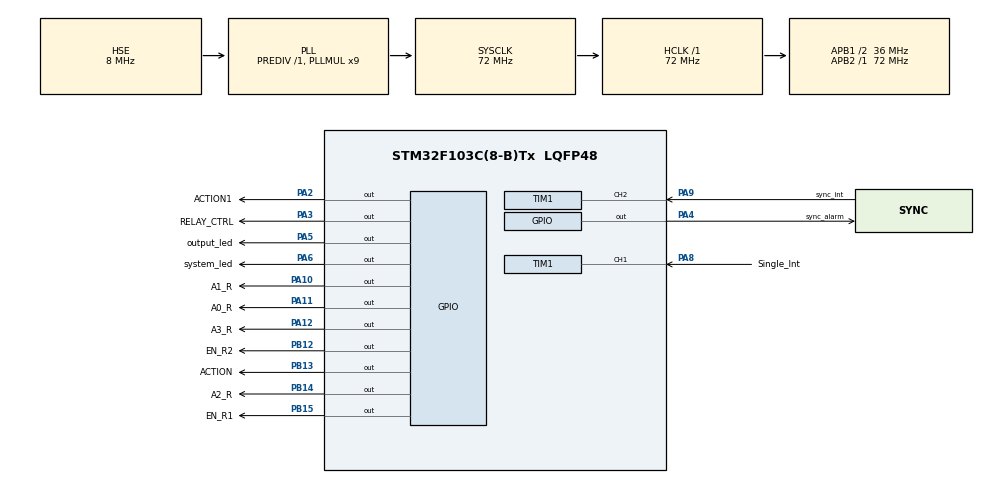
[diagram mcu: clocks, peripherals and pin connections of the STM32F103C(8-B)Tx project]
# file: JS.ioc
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Dma.Request0=TIM1_CH1
Dma.Request1=TIM1_CH2
Dma.TIM1_CH1.0.Direction=DMA_PERIPH_TO_MEMORY
Dma.TIM1_CH1.0.Instance=DMA1_Channel2
Dma.TIM1_CH1.0.MemDataAlignment=DMA_MDATAALIGN_HALFWORD
Dma.TIM1_CH1.0.MemInc=DMA_MINC_ENABLE
Dma.TIM1_CH1.0.Mode=DMA_NORMAL
Dma.TIM1_CH1.0.PeriphDataAlignment=DMA_PDATAALIGN_HALFWORD
Dma.TIM1_CH1.0.PeriphInc=DMA_PINC_DISABLE
Dma.TIM1_CH1.0.Priority=DMA_PRIORITY_LOW
Dma.TIM1_CH2.1.Direction=DMA_PERIPH_TO_MEMORY
Dma.TIM1_CH2.1.Instance=DMA1_Channel3
Dma.TIM1_CH2.1.MemDataAlignment=DMA_MDATAALIGN_HALFWORD
Dma.TIM1_CH2.1.MemInc=DMA_MINC_ENABLE
Dma.TIM1_CH2.1.Mode=DMA_NORMAL
Dma.TIM1_CH2.1.PeriphDataAlignment=DMA_PDATAALIGN_HALFWORD
Dma.TIM1_CH2.1.PeriphInc=DMA_PINC_DISABLE
Dma.TIM1_CH2.1.Priority=DMA_PRIORITY_LOW
Mcu.Family=STM32F1
Mcu.Name=STM32F103C(8-B)Tx
Mcu.Package=LQFP48
NVIC.DMA1_Channel2_IRQn=true\:0\:0\:false\:false\:true\:false\:true\:true
NVIC.DMA1_Channel3_IRQn=true\:0\:0\:false\:false\:true\:false\:true\:true
NVIC.PriorityGroup=NVIC_PRIORITYGROUP_4
NVIC.TIM1_CC_IRQn=true\:1\:0\:true\:false\:true\:true\:true\:true
NVIC.TIM1_UP_IRQn=true\:1\:0\:true\:false\:true\:true\:true\:true
NVIC.TIM2_IRQn=true\:0\:0\:true\:false\:true\:true\:true\:true
NVIC.TIM3_IRQn=true\:1\:0\:true\:false\:true\:true\:true\:true
PA10.GPIO_Label=A1_R
PA10.GPIO_ModeDefaultOutputPP=GPIO_MODE_OUTPUT_OD
PA10.GPIO_PuPd=GPIO_NOPULL
PA10.GPIO_Speed=GPIO_SPEED_FREQ_HIGH
PA10.Signal=GPIO_Output
PA11.GPIO_Label=A0_R
PA11.GPIO_ModeDefaultOutputPP=GPIO_MODE_OUTPUT_OD
PA11.GPIO_PuPd=GPIO_NOPULL
PA11.GPIO_Speed=GPIO_SPEED_FREQ_HIGH
PA11.Signal=GPIO_Output
PA12.GPIO_Label=A3_R
PA12.GPIO_ModeDefaultOutputPP=GPIO_MODE_OUTPUT_OD
PA12.GPIO_PuPd=GPIO_NOPULL
PA12.GPIO_Speed=GPIO_SPEED_FREQ_HIGH
PA12.Signal=GPIO_Output
PA13.Mode=Serial_Wire
PA13.Signal=SYS_JTMS-SWDIO
PA14.Mode=Serial_Wire
PA14.Signal=SYS_JTCK-SWCLK
PA2.GPIO_Label=ACTION1
PA2.GPIO_Speed=GPIO_SPEED_FREQ_HIGH
PA2.PinState=GPIO_PIN_SET
PA2.Signal=GPIO_Output
PA3.GPIO_Label=RELAY_CTRL
PA3.GPIO_Speed=GPIO_SPEED_FREQ_HIGH
PA3.PinState=GPIO_PIN_SET
PA3.Signal=GPIO_Output
PA4.GPIO_Label=sync_alarm
PA4.GPIO_ModeDefaultOutputPP=GPIO_MODE_OUTPUT_PP
PA4.GPIO_PuPd=GPIO_PULLUP
PA4.GPIO_Speed=GPIO_SPEED_FREQ_HIGH
PA4.PinState=GPIO_PIN_SET
PA4.Signal=GPIO_Output
PA5.GPIO_Label=output_led
PA5.GPIO_Speed=GPIO_SPEED_FREQ_HIGH
PA5.PinState=GPIO_PIN_SET
PA5.Signal=GPIO_Output
PA6.GPIO_Label=system_led
PA6.GPIO_PuPd=GPIO_PULLUP
PA6.GPIO_Speed=GPIO_SPEED_FREQ_HIGH
PA6.PinState=GPIO_PIN_SET
PA6.Signal=GPIO_Output
PA8.GPIO_Label=Single_Int
PA8.Signal=S_TIM1_CH1
PA9.GPIO_Label=sync_int
PA9.Signal=S_TIM1_CH2
PB12.GPIO_Label=EN_R2
PB12.GPIO_ModeDefaultOutputPP=GPIO_MODE_OUTPUT_OD
PB12.GPIO_PuPd=GPIO_NOPULL
PB12.GPIO_Speed=GPIO_SPEED_FREQ_HIGH
PB12.Signal=GPIO_Output
PB13.GPIO_Label=ACTION
PB13.GPIO_Speed=GPIO_SPEED_FREQ_HIGH
PB13.Signal=GPIO_Output
PB14.GPIO_Label=A2_R
PB14.GPIO_ModeDefaultOutputPP=GPIO_MODE_OUTPUT_OD
PB14.GPIO_PuPd=GPIO_NOPULL
PB14.GPIO_Speed=GPIO_SPEED_FREQ_HIGH
PB14.Signal=GPIO_Output
PB15.GPIO_Label=EN_R1
PB15.GPIO_ModeDefaultOutputPP=GPIO_MODE_OUTPUT_OD
PB15.GPIO_PuPd=GPIO_NOPULL
PB15.GPIO_Speed=GPIO_SPEED_FREQ_HIGH
PB15.Signal=GPIO_Output
PD0-OSC_IN.Mode=HSE-External-Oscillator
PD0-OSC_IN.Signal=RCC_OSC_IN
PD1-OSC_OUT.Mode=HSE-External-Oscillator
PD1-OSC_OUT.Signal=RCC_OSC_OUT
ProjectManager.HeapSize=0x200
ProjectManager.StackSize=0x400
ProjectManager.TargetToolchain=MDK-ARM V5.32
RCC.AHBFreq_Value=72000000
RCC.APB1CLKDivider=RCC_HCLK_DIV2
RCC.APB1Freq_Value=36000000
RCC.APB1TimFreq_Value=72000000
RCC.APB2Freq_Value=72000000
RCC.APB2TimFreq_Value=72000000
RCC.HCLKFreq_Value=72000000
RCC.PLLMUL=RCC_PLL_MUL9
RCC.PLLSourceVirtual=RCC_PLLSOURCE_HSE
RCC.SYSCLKFreq_VALUE=72000000
RCC.SYSCLKSource=RCC_SYSCLKSOURCE_PLLCLK
RCC.USBFreq_Value=72000000
SH.S_TIM1_CH1.0=TIM1_CH1,Input_Capture1_from_TI1
SH.S_TIM1_CH2.0=TIM1_CH2,Input_Capture2_from_TI2
TIM1.AutoReloadPreload=TIM_AUTORELOAD_PRELOAD_ENABLE
TIM1.Channel-Input_Capture1_from_TI1=TIM_CHANNEL_1
TIM1.Channel-Input_Capture2_from_TI2=TIM_CHANNEL_2
TIM1.ICPolarity_CH1=TIM_INPUTCHANNELPOLARITY_FALLING
TIM1.Prescaler=72-1
TIM2.AutoReloadPreload=TIM_AUTORELOAD_PRELOAD_ENABLE
TIM2.CounterMode=TIM_COUNTERMODE_UP
TIM2.Period=10-1
TIM2.Prescaler=72-1
TIM3.AutoReloadPreload=TIM_AUTORELOAD_PRELOAD_ENABLE
TIM3.Period=50000
TIM3.Prescaler=720-1
VP_TIM1_VS_ClockSourceINT.Mode=Internal
VP_TIM2_VS_ClockSourceINT.Mode=Internal
VP_TIM3_VS_ClockSourceINT.Mode=Internal
board=custom

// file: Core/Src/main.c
/* USER CODE BEGIN Header */
/**
 ******************************************************************************
 * @file           : main.c
 * @brief          : Main program body
 ******************************************************************************
 * @attention
 *
 * Copyright (c) 2024 STMicroelectronics.
 * All rights reserved.
 *
 * This software is licensed under terms that can be found in the LICENSE file
 * in the root directory of this software component.
 * If no LICENSE file comes with this software, it is provided AS-IS.
 *
 ******************************************************************************
 */
/* USER CODE END Header */
#include "main.h"
#include "dma.h"
#include "tim.h"
#include "gpio.h"

void SystemClock_Config(void);

/* USER CODE BEGIN 0 */
/*同步信号*/
extern uint32_t Sync_capture_Buf[3]; // 存放计数值
extern uint8_t Sync_Cnt;             // 状态标志位
extern uint32_t Sync_high_time;      // 高电平时间

/*检测信号*/
extern uint32_t Signal_capture_Buf[3]; // 存放计数值
extern uint8_t Signal_Cnt;             // 状态标志位
extern uint32_t Signal_high_time;      // 高电平时间

float time;
float count = 0;
extern uint32_t duration;

extern uint16_t up_edge_cnt;
uint16_t sync_alarm_flag = 1000;

extern uint8_t i;
extern __IO uint32_t uDelayValue;
extern uint8_t holes_num;
extern uint8_t holes_ex;

void EN_R1_open(void);
void EN_R2_open(void);
void delay_us(uint32_t us);

void EN_R1_R2_close(void);
/* USER CODE END 0 */

int main(void)
{

  /* MCU Configuration--------------------------------------------------------*/

  /* Reset of all peripherals, Initializes the Flash interface and the Systick. */
  HAL_Init();

  /* Configure the system clock */
  SystemClock_Config();

  /* Initialize all configured peripherals */
  MX_GPIO_Init();
  MX_DMA_Init();
  MX_TIM1_Init();
  MX_TIM2_Init();
  MX_TIM3_Init();
  /* USER CODE BEGIN 2 */
  HAL_TIM_IC_Start_IT(&htim1, TIM_CHANNEL_1);
  HAL_TIM_Base_Start_IT(&htim7);
  //	HAL_TIM_Base_Start(&htim2);

  /* USER CODE END 2 */

  /* Infinite loop */
  /* USER CODE BEGIN WHILE */
  while (1)
  {

    switch (Sync_Cnt)
    {
    case 0:
      Sync_Cnt++;
      __HAL_TIM_SET_CAPTUREPOLARITY(&htim1, TIM_CHANNEL_2, TIM_INPUTCHANNELPOLARITY_RISING);
      HAL_TIM_IC_Start_IT(&htim1, TIM_CHANNEL_2); // 启动输入捕获       或者: __HAL_TIM_ENABLE(&htim5);

      break;
    case 3:
      if (Sync_capture_Buf[1] < Sync_capture_Buf[0])
      { // 不存在先捕获高电平后捕获低电平capture_Buf[1]<capture_Buf[0],肯定是有了溢出
        Sync_high_time = 0xC350 + Sync_capture_Buf[1] - Sync_capture_Buf[0];
      }
      else
      {
        Sync_high_time = Sync_capture_Buf[1] - Sync_capture_Buf[0]; // 高电平时间
      }

      if (Sync_high_time == 0x1B)
      {

        Sync_Cnt = 5;

        EN_R1_open();
        HAL_TIM_Base_Start_IT(&htim2);
        i = 1;
        if (holes_num < 5)
        { // 孔洞个数少，代表有孔且钢板存在
          holes_ex += holes_num;
        }
        holes_num = 0;
        //			delay_us(1);                  //延时一微秒后进行切换
      }
      else
      {
        Sync_Cnt = 0;
      }
      break;
    }
    if (sync_alarm_flag > 0)
    {
      sync_alarm_flag--; // 将变量减 1
    }
    else
    {
      sync_alarm_flag = 0; // 如果已经为 0，则不再减小，保持为 0
    }
    if (Sync_Cnt <= 2 && (sync_alarm_flag == 0))
    {

      HAL_GPIO_WritePin(sync_alarm_GPIO_Port, sync_alarm_Pin, GPIO_PIN_RESET);
    }
    else
    {
      HAL_GPIO_WritePin(sync_alarm_GPIO_Port, sync_alarm_Pin, GPIO_PIN_SET);
    }

    if (holes_num && (holes_num < 10))
    { // 存在孔洞且热轧板存在
      Relay_Action_Open();
      HAL_TIM_Base_Start_IT(&htim3);
    }
  }
  /* USER CODE END WHILE */

}

void SystemClock_Config(void)
{
  RCC_OscInitTypeDef RCC_OscInitStruct = {0};
  RCC_ClkInitTypeDef RCC_ClkInitStruct = {0};

  /** Initializes the RCC Oscillators according to the specified parameters
   * in the RCC_OscInitTypeDef structure.
   */
  RCC_OscInitStruct.OscillatorType = RCC_OSCILLATORTYPE_HSE;
  RCC_OscInitStruct.HSEState = RCC_HSE_ON;
  RCC_OscInitStruct.HSEPredivValue = RCC_HSE_PREDIV_DIV1;
  RCC_OscInitStruct.HSIState = RCC_HSI_ON;
  RCC_OscInitStruct.PLL.PLLState = RCC_PLL_ON;
  RCC_OscInitStruct.PLL.PLLSource = RCC_PLLSOURCE_HSE;
  RCC_OscInitStruct.PLL.PLLMUL = RCC_PLL_MUL9;
  if (HAL_RCC_OscConfig(&RCC_OscInitStruct) != HAL_OK)
  {
    Error_Handler();
  }

  /** Initializes the CPU, AHB and APB buses clocks
   */
  RCC_ClkInitStruct.ClockType = RCC_CLOCKTYPE_HCLK | RCC_CLOCKTYPE_SYSCLK | RCC_CLOCKTYPE_PCLK1 | RCC_CLOCKTYPE_PCLK2;
  RCC_ClkInitStruct.SYSCLKSource = RCC_SYSCLKSOURCE_PLLCLK;
  RCC_ClkInitStruct.AHBCLKDivider = RCC_SYSCLK_DIV1;
  RCC_ClkInitStruct.APB1CLKDivider = RCC_HCLK_DIV2;
  RCC_ClkInitStruct.APB2CLKDivider = RCC_HCLK_DIV1;

  if (HAL_RCC_ClockConfig(&RCC_ClkInitStruct, FLASH_LATENCY_2) != HAL_OK)
  {
    Error_Handler();
  }
}

/* USER CODE BEGIN 4 */

///*微秒级延时函数*/
// void delay_us(uint32_t us)
//{
//     __HAL_TIM_SET_COUNTER(&htim2, 0); // 将计数器值设置为0
//     while (__HAL_TIM_GET_COUNTER(&htim2) < us); // 等待计数器达到指定的微秒数
// }

/* USER CODE END 4 */

void Error_Handler(void)
{
  __disable_irq();
  while (1)
  {
  }
}
